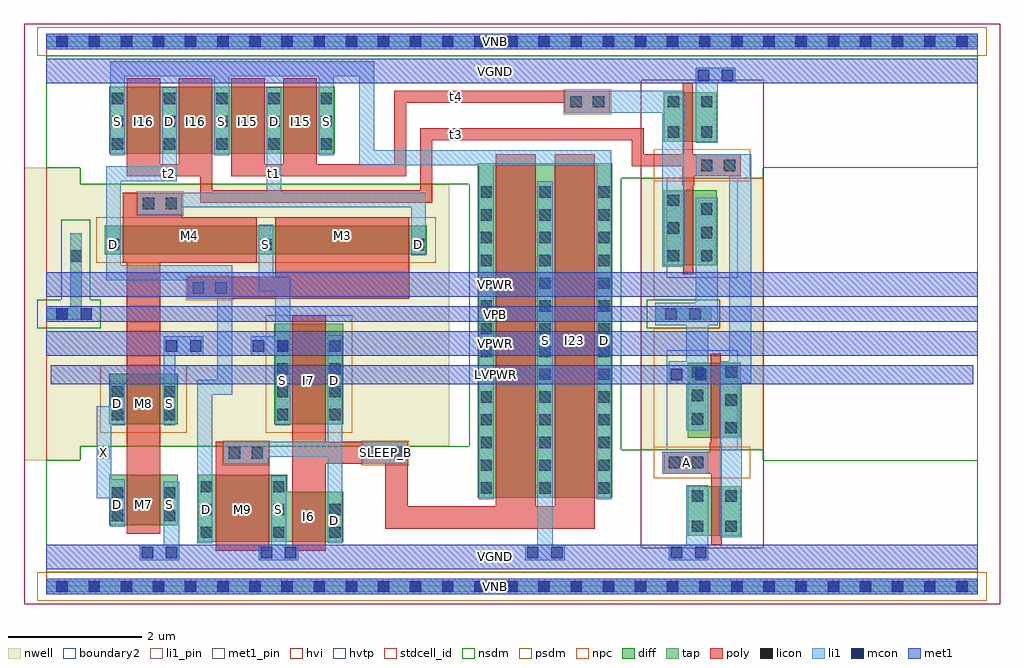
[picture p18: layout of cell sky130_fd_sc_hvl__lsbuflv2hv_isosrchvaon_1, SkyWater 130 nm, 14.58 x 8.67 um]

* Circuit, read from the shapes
.subckt sky130_fd_sc_hvl__lsbuflv2hv_isosrchvaon_1 A LVPWR SLEEP_B VGND VNB VPB VPWR X
XM1 VGND n1 X VNB sky130_fd_pr__nfet_g5v0d10v5 w=0.75 l=0.5
XM2 n2 n3 n4 VNB sky130_fd_pr__nfet_g5v0d10v5 w=1 l=0.5 m=2
XM3 VGND n5 n2 VNB sky130_fd_pr__nfet_g5v0d10v5 w=1 l=0.8
XM4 n1 n6 n4 VNB sky130_fd_pr__nfet_g5v0d10v5 w=1 l=0.5 m=2
XM5 n5 SLEEP_B VGND VNB sky130_fd_pr__nfet_g5v0d10v5 w=0.75 l=0.5
XM6 VGND SLEEP_B n4 VNB sky130_fd_pr__nfet_g5v0d10v5 w=5 l=0.6 m=2
XM7 VGND n3 n6 VNB sky130_fd_pr__nfet_01v8 w=0.74 l=0.15
XM8 n3 A VGND VNB sky130_fd_pr__nfet_01v8 w=0.74 l=0.15
XM9 VPWR n1 n2 VPB sky130_fd_pr__pfet_g5v0d10v5 w=0.42 l=2
XM10 VPWR n1 X VPB sky130_fd_pr__pfet_g5v0d10v5 w=0.75 l=0.5
XM11 n1 n2 VPWR VPB sky130_fd_pr__pfet_g5v0d10v5 w=0.42 l=2
XM12 n5 SLEEP_B VPWR VPB sky130_fd_pr__pfet_g5v0d10v5 w=1.5 l=0.5
XM13 LVPWR n3 n6 LVPWR sky130_fd_pr__pfet_01v8_hvt w=1.12 l=0.15
XM14 n3 A LVPWR LVPWR sky130_fd_pr__pfet_01v8_hvt w=1.12 l=0.15
.ends

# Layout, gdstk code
import gdstk
lib = gdstk.Library(unit=1e-6, precision=1e-09)
def R(c, l, rs):  # rectangles x0, y0, x1, y1
    for r in rs: c.add(gdstk.rectangle(r[:2], r[2:], *l))
def A(c, l, x, y, w, h, nx, ny, dx, dy):  # array of equal rectangles
    R(c, l, [(x+i*dx, y+j*dy, x+i*dx+w, y+j*dy+h) for i in range(nx) for j in range(ny)])
def P(c, l, *ps):  # polygons
    for p in ps: c.add(gdstk.Polygon(p, *l))
nwell = (64, 20)
diff = (65, 20)
tap = (65, 44)
poly = (66, 20)
licon = (66, 44)
li1_pin = (67, 16)
li1 = (67, 20)
mcon = (67, 44)
met1_pin = (68, 16)
met1 = (68, 20)
hvi = (75, 20)
hvtp = (78, 44)
stdcell_id = (81, 4)
nsdm = (93, 44)
psdm = (94, 20)
npc = (95, 20)
boundary2 = (236, 0)

sky130_fd_sc_hvl__lsbufl = lib.new_cell('sky130_fd_sc_hvl__lsbuflv2hv_isosrchvaon_1')
R(sky130_fd_sc_hvl__lsbufl, nwell, [(8.89,2.045,10.71,3.905), (8.89,2.045,10.71,6.095), (8.89,4.235,10.71,6.095)])
P(sky130_fd_sc_hvl__lsbufl, nwell, [(6.02,6.005),(0.51,6.005),(0.51,6.255),(-0.33,6.255),(-0.33,1.885),(0.51,1.885),(0.51,2.095),(6.02,2.095)])
R(sky130_fd_sc_hvl__lsbufl, diff, [(2.27,0.665,3.6,1.665), (3.425,0.665,4.44,1.415), (4.175,0.665,4.425,1.415), (9.585,0.755,10.375,1.495), (0.94,0.915,1.97,1.665), (6.45,1.325,8.46,6.325), (9.585,2.225,10.375,3.345), (0.94,2.425,1.97,3.175), (3.41,2.425,3.675,3.925), (3.675,2.425,4.175,3.925), (4.175,2.425,4.44,3.925), (4.175,2.425,4.425,3.925), (9.225,4.795,10.015,5.915), (0.88,4.965,5.69,5.385), (0.94,6.465,4.31,7.465), (9.225,6.645,10.015,7.385)])
R(sky130_fd_sc_hvl__lsbufl, tap, [(0,-0.085,13.92,0.085), (0,3.985,0.685,4.155), (0.36,3.985,0.53,5.28), (9.1,3.985,9.935,4.155), (0,8.055,13.92,8.225)])
R(sky130_fd_sc_hvl__lsbufl, poly, [(2.535,0.535,3.335,2.16), (2.535,0.535,3.335,0.665), (1.205,0.785,1.705,0.915), (2.535,1.665,3.335,1.795), (2.65,1.83,3.32,2.16)])
P(sky130_fd_sc_hvl__lsbufl, poly, [(8.42,7.405),(5.2,7.405),(5.2,6.305),(4.045,6.305),(4.045,7.595),(3.545,7.595),(3.545,6.305),(3.265,6.305),(3.265,7.595),(2.765,7.595),(2.765,6.125),(5.38,6.125),(5.38,7.225),(7.75,7.225),(7.75,7.075),(8.42,7.075)],
  [(10.095,2.15),(10.08,2.15),(10.08,3.475),(9.93,3.475),(9.93,2.15),(9.915,2.15),(9.915,2.015),(9.225,2.015),(9.225,1.685),(9.94,1.685),(9.94,0.625),(10.09,0.625),(10.09,1.685),(10.095,1.685)],
  [(8.195,6.455),(7.595,6.455),(7.595,1.195),(7.315,1.195),(7.315,6.455),(6.715,6.455),(6.715,1.195),(5.4,1.195),(5.4,2.16),(4.175,2.16),(4.175,4.055),(3.675,4.055),(3.675,0.535),(4.175,0.535),(4.175,1.83),(5.07,1.83),(5.07,0.865),(8.195,0.865)],
  [(5.425,5.515),(3.425,5.515),(3.425,4.625),(2.11,4.625),(2.11,4.295),(5.425,4.295)],
  [(3.145,5.515),(2.035,5.515),(2.035,5.885),(1.145,5.885),(1.145,4.835),(1.205,4.835),(1.205,0.785),(1.705,0.785),(1.705,4.835),(3.145,4.835)],
  [(10.375,6.455),(9.66,6.455),(9.66,7.52),(9.51,7.52),(9.51,6.455),(8.93,6.455),(8.93,6.845),(5.59,6.845),(5.59,5.915),(2.485,5.915),(2.485,7.595),(1.985,7.595),(1.985,6.305),(1.705,6.305),(1.705,7.595),(1.205,7.595),(1.205,6.125),(2.305,6.125),(2.305,5.735),(5.77,5.735),(5.77,6.665),(8.75,6.665),(8.75,6.275),(9.505,6.275),(9.505,5.99),(9.52,5.99),(9.52,4.665),(9.67,4.665),(9.67,5.99),(9.685,5.99),(9.685,6.125),(10.375,6.125)])
A(sky130_fd_sc_hvl__lsbufl, licon, 0.155, -0.085, 0.17, 0.17, 3, 2, 0.48, 8.14)
A(sky130_fd_sc_hvl__lsbufl, licon, 1.115, -0.085, 0.17, 0.17, 10, 2, 0.48, 8.14)
A(sky130_fd_sc_hvl__lsbufl, licon, 5.435, -0.085, 0.17, 0.17, 18, 2, 0.48, 8.14)
A(sky130_fd_sc_hvl__lsbufl, licon, 2.31, 0.725, 0.17, 0.17, 1, 3, 0, 0.34)
A(sky130_fd_sc_hvl__lsbufl, licon, 3.39, 0.725, 0.17, 0.17, 1, 3, 0, 0.34)
A(sky130_fd_sc_hvl__lsbufl, licon, 6.49, 1.385, 0.17, 0.17, 3, 14, 0.88, 0.34)
A(sky130_fd_sc_hvl__lsbufl, licon, 10.145, 2.285, 0.17, 0.17, 1, 3, 0, 0.415)
A(sky130_fd_sc_hvl__lsbufl, licon, 9.645, 2.415, 0.17, 0.17, 1, 3, 0, 0.35)
A(sky130_fd_sc_hvl__lsbufl, licon, 3.45, 2.485, 0.17, 0.17, 1, 4, 0, 0.34)
A(sky130_fd_sc_hvl__lsbufl, licon, 4.23, 2.485, 0.17, 0.17, 1, 4, 0, 0.34)
A(sky130_fd_sc_hvl__lsbufl, licon, 9.285, 4.855, 0.17, 0.17, 1, 3, 0, 0.415)
A(sky130_fd_sc_hvl__lsbufl, licon, 9.785, 4.855, 0.17, 0.17, 1, 3, 0, 0.35)
A(sky130_fd_sc_hvl__lsbufl, licon, 0.92, 5.025, 0.17, 0.17, 3, 1, 2.28, 0)
A(sky130_fd_sc_hvl__lsbufl, licon, 0.98, 6.525, 0.17, 0.17, 5, 3, 0.78, 0.34)
R(sky130_fd_sc_hvl__lsbufl, licon, [(13.595,-0.085,13.765,0.085), (4.23,0.725,4.4,0.895), (9.645,0.815,9.815,0.985), (10.145,0.815,10.315,0.985), (0.98,0.975,1.15,1.145), (1.76,0.975,1.93,1.145), (4.23,1.065,4.4,1.235), (9.645,1.265,9.815,1.435), (10.145,1.265,10.315,1.435), (0.98,1.315,1.15,1.485), (1.76,1.315,1.93,1.485), (9.305,1.765,9.475,1.935), (9.645,1.765,9.815,1.935), (2.73,1.91,2.9,2.08), (3.07,1.91,3.24,2.08), (4.81,1.91,4.98,2.08), (5.15,1.91,5.32,2.08), (0.98,2.485,1.15,2.655), (1.76,2.485,1.93,2.655), (0.98,2.825,1.15,2.995), (1.76,2.825,1.93,2.995), (0.155,3.985,0.325,4.155), (9.25,3.985,9.42,4.155), (9.61,3.985,9.78,4.155), (2.19,4.375,2.36,4.545), (2.53,4.375,2.7,4.545), (0.36,4.85,0.53,5.02), (1.445,5.635,1.615,5.805), (1.785,5.635,1.955,5.805), (9.785,6.205,9.955,6.375), (10.125,6.205,10.295,6.375), (9.285,6.705,9.455,6.875), (9.785,6.705,9.955,6.875), (7.83,7.155,8,7.325), (8.17,7.155,8.34,7.325), (9.285,7.155,9.455,7.325), (9.785,7.155,9.955,7.325), (13.595,8.055,13.765,8.225)])
R(sky130_fd_sc_hvl__lsbufl, li1_pin, [(9.475,1.765,9.645,1.935), (0.78,1.91,0.95,2.08), (4.98,1.91,5.15,2.08)])
R(sky130_fd_sc_hvl__lsbufl, li1, [(0,-0.085,13.92,0.085), (9.205,1.685,9.895,2.015), (4.73,1.83,5.4,2.16), (9.565,2.335,9.895,3.365), (1.76,2.405,1.93,3.075), (1.76,3.445,2.35,3.735), (9.1,3.985,9.935,4.155), (0,8.055,13.92,8.225)])
P(sky130_fd_sc_hvl__lsbufl, li1, [(9.535,7.405),(7.75,7.405),(7.75,7.075),(9.205,7.075),(9.205,4.775),(9.535,4.775)],
  [(9.705,6.625),(10.035,6.625),(10.035,7.52),(10.295,7.52),(10.295,7.75),(9.705,7.75)],
  [(7.745,0.625),(7.57,0.625),(7.57,6.055),(7.34,6.055),(7.34,0.625),(7.155,0.625),(7.155,0.395),(7.745,0.395)],
  [(10.035,5.805),(9.705,5.805),(9.705,4.235),(9.1,4.235),(9.1,3.905),(9.565,3.905),(9.565,3.365),(9.305,3.365),(9.305,3.02),(9.895,3.02),(9.895,3.905),(10.035,3.905)],
  [(10.535,6.455),(9.705,6.455),(9.705,6.125),(10.205,6.125),(10.205,3.365),(10.065,3.365),(10.065,0.735),(10.395,0.735),(10.395,3.035),(10.535,3.035)],
  [(3.765,0.625),(3.59,0.625),(3.59,1.655),(3.36,1.655),(3.36,0.625),(3.175,0.625),(3.175,0.395),(3.765,0.395)],
  [(9.895,1.515),(9.565,1.515),(9.565,0.625),(9.305,0.625),(9.305,0.395),(9.895,0.395)],
  [(0.685,4.155),(0.53,4.155),(0.53,5.28),(0.36,5.28),(0.36,4.155),(0,4.155),(0,3.985),(0.685,3.985)],
  [(2.78,4.795),(1.115,4.795),(1.115,6.055),(1.955,6.055),(1.955,7.455),(1.735,7.455),(1.735,6.275),(0.895,6.275),(0.895,4.575),(2.11,4.575),(2.11,4.295),(2.56,4.295),(2.56,3.085),(2.26,3.085),(2.26,0.645),(2.48,0.645),(2.48,2.86),(2.78,2.86)],
  [(1.99,1.565),(1.76,1.565),(1.76,0.625),(1.4,0.625),(1.4,0.395),(1.99,0.395)],
  [(4.425,3.755),(4.205,3.755),(4.205,2.16),(2.65,2.16),(2.65,1.83),(3.32,1.83),(3.32,1.94),(4.205,1.94),(4.205,0.645),(4.425,0.645)],
  [(1.175,1.605),(0.975,1.605),(0.975,2.405),(1.175,2.405),(1.175,3.075),(0.955,3.075),(0.955,2.695),(0.755,2.695),(0.755,1.315),(0.955,1.315),(0.955,0.895),(1.175,0.895)],
  [(2.35,3.735),(1.76,3.735),(1.76,2.405),(1.93,2.405),(1.93,3.445),(2.35,3.445)],
  [(3.645,4.63),(3.395,4.63),(3.395,5.405),(3.175,5.405),(3.175,4.41),(3.425,4.41),(3.425,3.735),(3.06,3.735),(3.06,3.445),(3.425,3.445),(3.425,2.405),(3.645,2.405)],
  [(5.675,5.885),(3.515,5.885),(3.515,7.455),(3.295,7.455),(3.295,5.885),(1.365,5.885),(1.365,5.555),(2.035,5.555),(2.035,5.665),(5.455,5.665),(5.455,4.945),(5.675,4.945)],
  [(8.445,6.515),(4.9,6.515),(4.9,7.845),(0.955,7.845),(0.955,6.445),(1.175,6.445),(1.175,7.625),(2.515,7.625),(2.515,6.445),(2.735,6.445),(2.735,7.625),(4.075,7.625),(4.075,6.445),(4.295,6.445),(4.295,7.625),(4.68,7.625),(4.68,6.295),(6.465,6.295),(6.465,1.305),(6.685,1.305),(6.685,6.295),(8.225,6.295),(8.225,1.305),(8.445,1.305)])
A(sky130_fd_sc_hvl__lsbufl, mcon, 0.155, -0.085, 0.17, 0.17, 3, 2, 0.48, 8.14)
A(sky130_fd_sc_hvl__lsbufl, mcon, 1.115, -0.085, 0.17, 0.17, 10, 2, 0.48, 8.14)
A(sky130_fd_sc_hvl__lsbufl, mcon, 5.435, -0.085, 0.17, 0.17, 18, 2, 0.48, 8.14)
R(sky130_fd_sc_hvl__lsbufl, mcon, [(13.595,-0.085,13.765,0.085), (1.43,0.425,1.6,0.595), (1.79,0.425,1.96,0.595), (3.205,0.425,3.375,0.595), (3.565,0.425,3.735,0.595), (7.185,0.425,7.355,0.595), (7.545,0.425,7.715,0.595), (9.335,0.425,9.505,0.595), (9.695,0.425,9.865,0.595), (9.335,3.08,9.505,3.25), (9.695,3.08,9.865,3.25), (1.79,3.505,1.96,3.675), (2.15,3.505,2.32,3.675), (3.09,3.505,3.26,3.675), (3.45,3.505,3.62,3.675), (0.155,3.985,0.325,4.155), (0.515,3.985,0.685,4.155), (9.735,7.55,9.905,7.72), (10.095,7.55,10.265,7.72), (13.595,8.055,13.765,8.225)])
R(sky130_fd_sc_hvl__lsbufl, met1_pin, [(0,0,13.92,0.115), (0,0.255,13.92,0.625), (0.07,3.02,13.85,3.305), (0,3.445,13.92,3.815), (0,3.955,13.92,4.185), (0,4.325,13.92,4.695), (0,7.515,13.92,7.885), (0,8.025,13.92,8.14), (10.2,8.025,11.64,8.14)])
A(sky130_fd_sc_hvl__lsbufl, met1, 0, -0.115, 13.92, 0.23, 1, 3, 0, 4.07)
R(sky130_fd_sc_hvl__lsbufl, met1, [(0,0.255,13.92,0.625), (0.07,3.02,13.85,3.305), (0,3.445,13.92,3.815), (0,4.325,13.92,4.695), (0,7.515,13.92,7.885)])
P(sky130_fd_sc_hvl__lsbufl, hvi, [(14.25,8.405),(10.71,8.405),(10.71,0.575),(8.89,0.575),(8.89,7.565),(10.71,7.565),(10.71,8.405),(-0.33,8.405),(-0.33,-0.265),(14.25,-0.265)])
R(sky130_fd_sc_hvl__lsbufl, hvtp, [(9.27,2.045,10.33,3.525), (9.27,4.615,10.33,6.095)])
R(sky130_fd_sc_hvl__lsbufl, stdcell_id, [(0,0,13.92,8.14)])
R(sky130_fd_sc_hvl__lsbufl, nsdm, [(6.32,1.195,8.59,6.455), (8.97,3.855,10.065,4.285)])
P(sky130_fd_sc_hvl__lsbufl, nsdm, [(13.92,1.885),(10.71,1.885),(10.71,2.045),(8.59,2.045),(8.59,1.195),(6.32,1.195),(6.32,2.095),(0.51,2.095),(0.51,1.885),(0,1.885),(0,0.215),(13.92,0.215)],
  [(0.66,5.475),(0.23,5.475),(0.23,4.285),(-0.13,4.285),(-0.13,3.855),(0.815,3.855),(0.815,4.285),(0.66,4.285)],
  [(4.57,1.545),(3.73,1.545),(3.73,1.795),(0.81,1.795),(0.81,0.785),(2.14,0.785),(2.14,0.535),(4.57,0.535)],
  [(13.92,7.925),(0,7.925),(0,6.255),(0.51,6.255),(0.51,6.005),(6.32,6.005),(6.32,6.455),(8.59,6.455),(8.59,6.095),(10.71,6.095),(10.71,6.255),(13.92,6.255)])
R(sky130_fd_sc_hvl__lsbufl, psdm, [(-0.13,-0.215,14.05,0.215), (0.81,2.295,2.1,3.305), (3.28,2.295,3.805,4.055), (3.425,2.295,4.425,4.055), (4.045,2.295,4.57,4.055), (0.75,4.835,5.82,5.515), (-0.13,7.925,14.05,8.355)])
P(sky130_fd_sc_hvl__lsbufl, psdm, [(10.71,6.095),(9.08,6.095),(9.08,4.285),(10.065,4.285),(10.065,3.855),(9.08,3.855),(9.08,2.045),(10.71,2.045)])
R(sky130_fd_sc_hvl__lsbufl, npc, [(9.08,1.615,10.52,2.085), (2.63,1.81,3.34,2.18), (4.71,1.81,5.42,2.18), (2.09,4.275,2.8,4.645), (1.345,5.535,2.055,5.905), (9.08,6.055,10.52,6.53), (7.73,7.055,8.44,7.425)])
R(sky130_fd_sc_hvl__lsbufl, boundary2, [(0,0,13.92,8.14)])
sky130_fd_sc_hvl__lsbufl.add(gdstk.Label('SLEEP_B', (5.065,1.995), layer=67, texttype=5))
sky130_fd_sc_hvl__lsbufl.add(gdstk.Label('A', (9.56,1.85), layer=67, texttype=5))
sky130_fd_sc_hvl__lsbufl.add(gdstk.Label('X', (0.865,1.995), layer=67, texttype=5))
sky130_fd_sc_hvl__lsbufl.add(gdstk.Label('VNB', (6.72,8.14), layer=68, texttype=5))
sky130_fd_sc_hvl__lsbufl.add(gdstk.Label('VNB', (6.72,0), layer=68, texttype=5))
sky130_fd_sc_hvl__lsbufl.add(gdstk.Label('VGND', (6.72,0.44), layer=68, texttype=5))
sky130_fd_sc_hvl__lsbufl.add(gdstk.Label('VGND', (6.72,7.7), layer=68, texttype=5))
sky130_fd_sc_hvl__lsbufl.add(gdstk.Label('VPB', (6.72,4.07), layer=68, texttype=5))
sky130_fd_sc_hvl__lsbufl.add(gdstk.Label('VPWR', (6.72,4.51), layer=68, texttype=5))
sky130_fd_sc_hvl__lsbufl.add(gdstk.Label('VPWR', (6.72,3.63), layer=68, texttype=5))
sky130_fd_sc_hvl__lsbufl.add(gdstk.Label('LVPWR', (6.72,3.165), layer=68, texttype=5))
sky130_fd_sc_hvl__lsbufl.add(gdstk.Label('M3', (4.425,5.24), layer=83, texttype=44))
sky130_fd_sc_hvl__lsbufl.add(gdstk.Label('M7', (1.455,1.23), layer=83, texttype=44))
sky130_fd_sc_hvl__lsbufl.add(gdstk.Label('M8', (1.455,2.74), layer=83, texttype=44))
sky130_fd_sc_hvl__lsbufl.add(gdstk.Label('I16', (2.235,6.95), layer=83, texttype=44))
sky130_fd_sc_hvl__lsbufl.add(gdstk.Label('I6', (3.925,1.04), layer=83, texttype=44))
sky130_fd_sc_hvl__lsbufl.add(gdstk.Label('I15', (3.015,6.95), layer=83, texttype=44))
sky130_fd_sc_hvl__lsbufl.add(gdstk.Label('t4', (6.125,7.315), layer=83, texttype=44))
sky130_fd_sc_hvl__lsbufl.add(gdstk.Label('D', (6.575,3.68), layer=83, texttype=44))
sky130_fd_sc_hvl__lsbufl.add(gdstk.Label('S', (7.455,3.68), layer=83, texttype=44))
sky130_fd_sc_hvl__lsbufl.add(gdstk.Label('D', (8.335,3.68), layer=83, texttype=44))
sky130_fd_sc_hvl__lsbufl.add(gdstk.Label('D', (4.315,0.98), layer=83, texttype=44))
sky130_fd_sc_hvl__lsbufl.add(gdstk.Label('D', (2.395,1.15), layer=83, texttype=44))
sky130_fd_sc_hvl__lsbufl.add(gdstk.Label('S', (3.475,1.15), layer=83, texttype=44))
sky130_fd_sc_hvl__lsbufl.add(gdstk.Label('S', (1.845,1.23), layer=83, texttype=44))
sky130_fd_sc_hvl__lsbufl.add(gdstk.Label('D', (1.065,1.23), layer=83, texttype=44))
sky130_fd_sc_hvl__lsbufl.add(gdstk.Label('I23', (7.115,3.68), layer=83, texttype=44))
sky130_fd_sc_hvl__lsbufl.add(gdstk.Label('S', (3.535,3.08), layer=83, texttype=44))
sky130_fd_sc_hvl__lsbufl.add(gdstk.Label('D', (4.315,3.08), layer=83, texttype=44))
sky130_fd_sc_hvl__lsbufl.add(gdstk.Label('S', (1.845,2.74), layer=83, texttype=44))
sky130_fd_sc_hvl__lsbufl.add(gdstk.Label('D', (1.065,2.74), layer=83, texttype=44))
sky130_fd_sc_hvl__lsbufl.add(gdstk.Label('M4', (2.145,5.24), layer=83, texttype=44))
sky130_fd_sc_hvl__lsbufl.add(gdstk.Label('I16', (1.455,6.95), layer=83, texttype=44))
sky130_fd_sc_hvl__lsbufl.add(gdstk.Label('S', (3.285,5.11), layer=83, texttype=44))
sky130_fd_sc_hvl__lsbufl.add(gdstk.Label('D', (1.005,5.11), layer=83, texttype=44))
sky130_fd_sc_hvl__lsbufl.add(gdstk.Label('S', (3.285,5.11), layer=83, texttype=44))
sky130_fd_sc_hvl__lsbufl.add(gdstk.Label('D', (5.565,5.11), layer=83, texttype=44))
sky130_fd_sc_hvl__lsbufl.add(gdstk.Label('I15', (3.795,6.95), layer=83, texttype=44))
sky130_fd_sc_hvl__lsbufl.add(gdstk.Label('I7', (3.925,3.08), layer=83, texttype=44))
sky130_fd_sc_hvl__lsbufl.add(gdstk.Label('M9', (2.935,1.15), layer=83, texttype=44))
sky130_fd_sc_hvl__lsbufl.add(gdstk.Label('S', (2.625,6.95), layer=83, texttype=44))
sky130_fd_sc_hvl__lsbufl.add(gdstk.Label('D', (3.405,6.95), layer=83, texttype=44))
sky130_fd_sc_hvl__lsbufl.add(gdstk.Label('S', (4.185,6.95), layer=83, texttype=44))
sky130_fd_sc_hvl__lsbufl.add(gdstk.Label('t1', (3.405,6.165), layer=83, texttype=44))
sky130_fd_sc_hvl__lsbufl.add(gdstk.Label('S', (2.625,6.95), layer=83, texttype=44))
sky130_fd_sc_hvl__lsbufl.add(gdstk.Label('D', (1.845,6.95), layer=83, texttype=44))
sky130_fd_sc_hvl__lsbufl.add(gdstk.Label('I23', (7.895,3.68), layer=83, texttype=44))
sky130_fd_sc_hvl__lsbufl.add(gdstk.Label('S', (1.065,6.95), layer=83, texttype=44))
sky130_fd_sc_hvl__lsbufl.add(gdstk.Label('t2', (1.845,6.165), layer=83, texttype=44))
sky130_fd_sc_hvl__lsbufl.add(gdstk.Label('t3', (6.125,6.755), layer=83, texttype=44))

lib.write_gds('sky130_fd_sc_hvl__lsbuflv2hv_isosrchvaon_1.gds')
